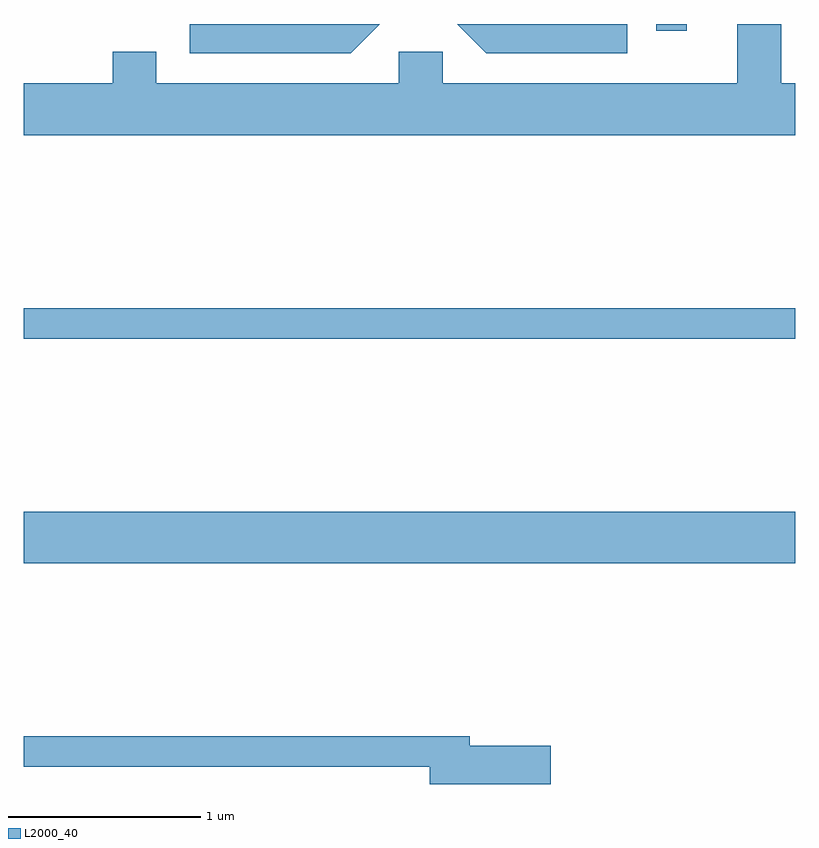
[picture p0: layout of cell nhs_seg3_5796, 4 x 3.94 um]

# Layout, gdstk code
import gdstk
lib = gdstk.Library(unit=1e-6, precision=1e-09)
def R(c, l, rs):  # rectangles x0, y0, x1, y1
    for r in rs: c.add(gdstk.rectangle(r[:2], r[2:], *l))
def P(c, l, *ps):  # polygons
    for p in ps: c.add(gdstk.Polygon(p, *l))
L2000_40 = (2000, 40)

nhs_seg3_5796 = lib.new_cell('nhs_seg3_5796')
R(nhs_seg3_5796, L2000_40, [(355.611,1157.096,359.611,1157.364), (355.611,1158.261,359.611,1158.419), (358.891,1159.858,359.049,1159.892)])
P(nhs_seg3_5796, L2000_40, [(359.611,1159.584),(359.539,1159.584),(359.539,1159.892),(359.311,1159.892),(359.311,1159.584),(357.784,1159.584),(357.784,1159.749),(357.556,1159.749),(357.556,1159.584),(356.299,1159.584),(356.299,1159.749),(356.071,1159.749),(356.071,1159.584),(355.611,1159.584),(355.611,1159.316),(359.611,1159.316)],
  [(357.458,1159.892),(356.471,1159.892),(356.471,1159.741),(357.307,1159.741)],
  [(358.739,1159.892),(357.858,1159.892),(358.009,1159.741),(358.739,1159.741)],
  [(358.344,1156.149),(357.924,1156.149),(357.924,1156.199),(355.611,1156.199),(355.611,1156.041),(357.716,1156.041),(357.716,1155.951),(358.344,1155.951)])

lib.write_gds('nhs_seg3_5796.gds')
